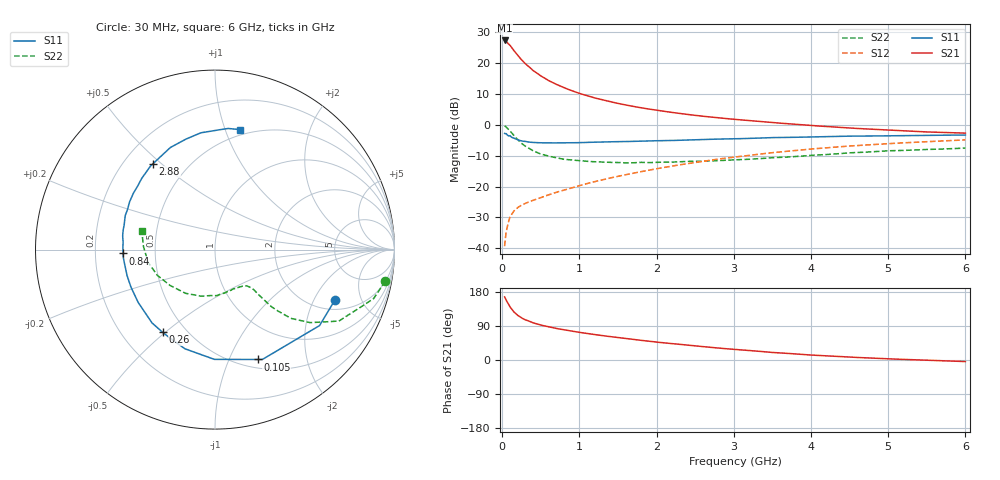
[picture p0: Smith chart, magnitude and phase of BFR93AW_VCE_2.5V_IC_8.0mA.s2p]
! Infineon Technologies  Discrete & RF Semiconductors
! BFR93AW
! VCE =  2.5 V,  IC =  8.0 mA
! Common Emitter S-Parameters:  Nov 2015
# GHz  S  MA  R  50
!  f  S11  S21  S12  S22
! GHz  MAG  ANG  MAG  ANG  MAG  ANG  MAG  ANG
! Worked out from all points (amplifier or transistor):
!   206 points, 30 MHz to 6 GHz, reference 50 ohm
!   highest |S21| = 27.4 dB at 30 MHz (marker M1)
!   |S21| within 3 dB of that: start of sweep to 141.7 MHz
!   unconditionally stable (mu >= 1): 787.9 MHz to 2.374 GHz
!   at 200 MHz: K = 0.43, MSG = 24.7 dB, |S12| = -26.8 dB
!   at 1.56 GHz: K = 1.08, MAG = 9.8 dB, |S12| = -16.4 dB
!   at 6 GHz: K = 0.94, MSG = 1.1 dB, |S12| = -4.9 dB
!   S11 on the Smith chart (normalised r, x): 30 MHz: 2.52, -2.98; 105 MHz: 0.60, -1.28; 260 MHz: 0.37, -0.49; 840 MHz: 0.32, -0.02; 2.88 GHz: 0.32, +0.47; 6 GHz: 0.45, +1.13
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0.03  0.7251 -22.7  23.31 166.5  0.0108 77.8  0.9646 -10.5
0.05  0.7201 -36.0  22.61 157.5  0.0182 71.8  0.9247 -17.2
0.1  0.6666 -66.7  19.45 139.7  0.0321 61.5  0.7969 -30.0
0.105  0.6564 -68.8  19.06 138.6  0.0329 60.6  0.7835 -30.6
0.15  0.6116 -90.3  16 126.7  0.0401 54.2  0.6683 -37.5
0.155  0.606 -91.9  15.72 125.9  0.0406 53.8  0.6587 -37.9
0.2  0.5774 -106.9  13.36 117.7  0.0456 50.9  0.5737 -42.0
0.24  0.552 -117.5  11.68 112.5  0.049 49.4  0.5144 -43.6
0.26  0.5454 -122.3  10.97 110.0  0.0505 48.9  0.4895 -44.3
0.3  0.5386 -130.6  9.75 105.8  0.0535 48.7  0.4493 -45.3
0.4  0.5195 -145.5  7.571 97.9  0.0599 50.0  0.3787 -45.8
0.5  0.5127 -156.0  6.197 92.0  0.0661 52.0  0.3354 -46.0
0.6  0.5109 -163.6  5.22 87.3  0.0733 54.0  0.3102 -46.0
0.84  0.513 -177.6  3.817 78.2  0.0906 58.1  0.2734 -48.3
1.04  0.5161 173.7  3.12 71.8  0.1068 60.4  0.2595 -51.4
1.46  0.533 160.1  2.279 60.1  0.143 62.8  0.2456 -61.3
2.02  0.553 144.8  1.708 46.8  0.1963 62.3  0.2475 -77.6
2.88  0.59 125.9  1.273 30.1  0.2868 57.4  0.2655 -103.2
3.1  0.5977 121.3  1.2 26.5  0.3095 55.5  0.2731 -110.3
4.1  0.6394 103.1  0.957 12.1  0.4146 45.1  0.3246 -144.4
5.1  0.6662 88.7  0.811 2.3  0.5035 33.3  0.3819 -172.0
6  0.6833 78.0  0.734 -4.1  0.5699 23.1  0.4204 165.9
